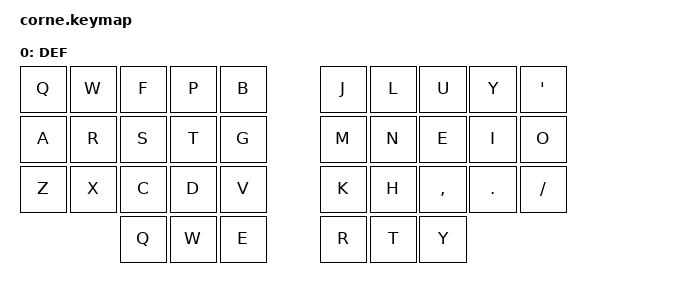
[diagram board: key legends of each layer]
/*
 * Copyright (c) 2020 The ZMK Contributors
 *
 * SPDX-License-Identifier: MIT
 */

#include <behaviors.dtsi>
#include <dt-bindings/zmk/keys.h>

&lt {
    quick-tap-ms = <200>;
    tapping-term-ms = <200>;
};

/ {
    chosen { zmk,matrix_transform = &five_column_transform; };

    keymap {
        compatible = "zmk,keymap";

        default_layer {
            label = "DEF";
            bindings = <
  &kp Q  &kp W  &kp F  &kp P  &kp B    &kp J  &kp L  &kp U      &kp Y    &kp SQT
  &kp A  &kp R  &kp S  &kp T  &kp G    &kp M  &kp N  &kp E      &kp I    &kp O
  &kp Z  &kp X  &kp C  &kp D  &kp V    &kp K  &kp H  &kp COMMA  &kp DOT  &kp FSLH
                &kp Q  &kp W  &kp E    &kp R  &kp T  &kp Y
            >;
        };
    };
};
